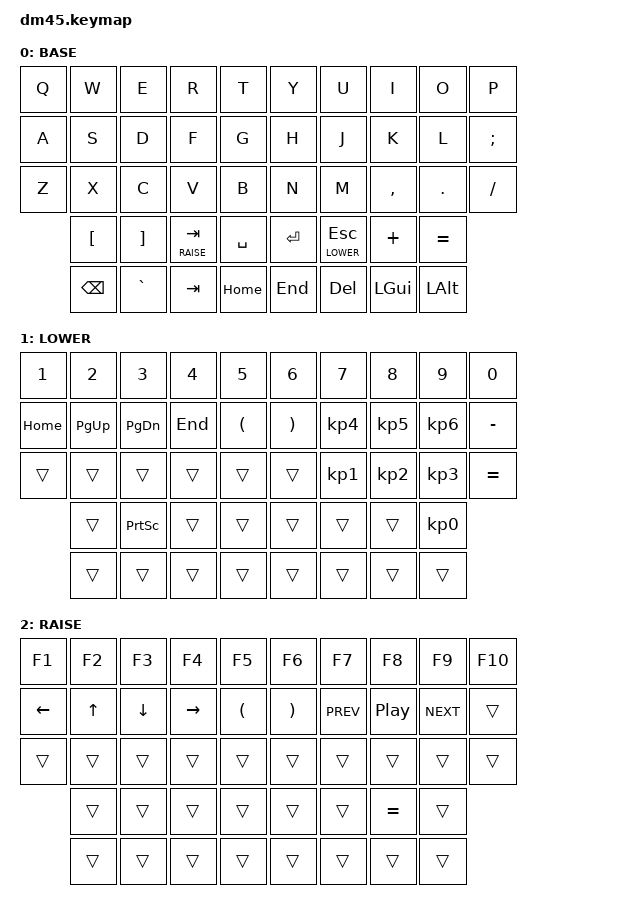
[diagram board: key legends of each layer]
/*
 * Copyright (c) 2024 The ZMK Contributors
 *
 * SPDX-License-Identifier: MIT
 *
 * DM45 keymap — adapted from the original Vial/QMK configuration.
 *
 * Layers
 * ──────
 * #0  BASE   QWERTY base layer
 * #1  LOWER  Numbers, navigation, keypad
 * #2  RAISE  Function keys, arrows, media
 *
 * Physical layout (left half shown; right half is mirrored)
 * ─────────────────────────────────────────────────────────
 * ╭───┬───┬───┬───┬───╮     ╭───┬───┬───┬───┬───╮
 * │ Q │ W │ E │ R │ T │     │ Y │ U │ I │ O │ P │
 * ├───┼───┼───┼───┼───┤     ├───┼───┼───┼───┼───┤
 * │ A │ S │ D │ F │ G │     │ H │ J │ K │ L │ ; │
 * ├───┼───┼───┼───┼───┤     ├───┼───┼───┼───┼───┤
 * │ Z │ X │ C │ V │ B │     │ N │ M │ , │ . │ / │
 * ╰───┼───┼───┼───┼───┤     ├───┼───┼───┼───┼───╯
 * │ [ │ ] │RSE│SPC│     │ENT│LWR│ + │ = │
 * ╰───┼───┼───┼───┤     ├───┼───┼───┼───╯
 * │TAB│HOM│BSP│` │     │END│DEL│GUI│ALT│
 * ╰───┴───┴───┴───╯     ╰───┴───┴───┴───╯
 */

#include <behaviors.dtsi>
#include <dt-bindings/zmk/keys.h>

#define BASE   0
#define LOWER  1
#define RAISE  2

/* ── Hold-tap tuning ─────────────────────────────────────────────────── */

&lt {
    quick-tap-ms = <220>;
    flavor = "tap-preferred";
    tapping-term-ms = <200>;
};

&mt {
    quick-tap-ms = <220>;
    flavor = "tap-preferred";
    tapping-term-ms = <200>;
};

/* ── Keymap ──────────────────────────────────────────────────────────── */

/ {
    keymap {
        compatible = "zmk,keymap";

        /* ============================================================== *
         * BASE  —  QWERTY (严格 46 颗键)                                *
         * ============================================================== */
        base_layer {
            label = "BASE";
            bindings = <
    &kp Q     &kp W     &kp E     &kp R     &kp T         &kp Y     &kp U     &kp I     &kp O     &kp P
    &kp A     &kp S     &kp D     &kp F     &kp G         &kp H     &kp J     &kp K     &kp L     &kp SEMI
    &kp Z     &kp X     &kp C     &kp V     &kp B         &kp N     &kp M     &kp COMMA &kp DOT   &kp FSLH
              &kp LBKT  &kp RBKT                                  &kp PLUS  &kp EQUAL
                                  &lt RAISE TAB  &kp SPACE     &kp RET  &lt LOWER ESC
                                  &kp TAB     &kp HOME         &kp END  &kp DEL
                                  &kp BSPC  &kp GRAVE          &kp LGUI &kp LALT
            >;
        };

        /* ============================================================== *
         * LOWER  —  Numbers + Navigation + Keypad (严格 46 颗键)        *
         * ============================================================== */
        lower_layer {
            label = "LOWER";
            bindings = <
    &kp N1    &kp N2    &kp N3    &kp N4    &kp N5        &kp N6    &kp N7    &kp N8    &kp N9    &kp N0
    &kp HOME  &kp PG_UP &kp PG_DN &kp END   &kp LPAR      &kp RPAR  &kp KP_N4 &kp KP_N5 &kp KP_N6 &kp MINUS
    &trans    &trans    &trans    &trans    &trans        &trans    &kp KP_N1 &kp KP_N2 &kp KP_N3 &kp EQUAL
              &trans    &kp PSCRN                                   &trans    &kp KP_N0
                                  &trans    &trans        &trans    &trans
                                  &trans    &trans        &trans    &trans
                                  &trans    &trans        &trans    &trans
            >;
        };

        /* ============================================================== *
         * RAISE  —  Function Keys + Arrows + Media (严格 46 颗键)                   *
         * ============================================================== */
        raise_layer {
            label = "RAISE";
            bindings = <
    &kp F1    &kp F2    &kp F3    &kp F4    &kp F5        &kp F6    &kp F7    &kp F8    &kp F9    &kp F10
    &kp LEFT  &kp UP    &kp DOWN  &kp RIGHT &kp LPAR      &kp RPAR  &kp C_PREV &kp C_PP &kp C_NEXT &trans
    &trans    &trans    &trans    &trans    &trans        &trans    &trans    &trans    &trans    &trans
              &trans    &trans                                      &kp EQUAL &trans
                                  &trans    &trans        &trans    &trans
                                  &trans    &trans        &trans    &trans
                                  &trans    &trans        &trans    &trans
            >;
        };
    };
};
